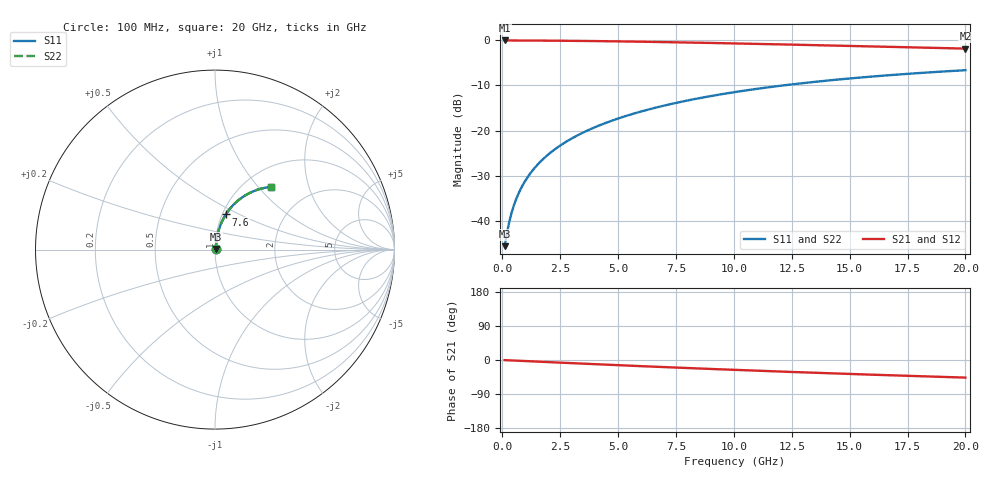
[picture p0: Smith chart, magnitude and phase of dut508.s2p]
! Touchstone file exported from HFSS 2024.1.0
!  File:  C:/UserFiles/LocalFiles/RDL_TSV_Batchsim/temp_RDL_bottom_508_1779687560.aedt
!  Generated:  01:41:57 PM May 25, 2026
!  Design:  RDL_bottom
!  Project:  temp_RDL_bottom_508_1779687560
!  Setup:  Setup1
!  Solution:  Sweep
! Variables:
!  dtsv = 10.80580581um
!  hbump = 3um
!  htsv = 55.67um
!  ldown = 641.17um
!  lrdl = 100um
!  p = 40
!  p1 = 47.9um
!  rhole = 1um
!  t = 450um
!  tdown = 3.39um
!  trdl = 3.915915916um
!  wdown = 15.71um
!  wrdl = 20um
# GHz S MA R 50.000000
! Terminal data exported
! Port[1] = RDL1_T1
! Port[2] = RDL1_T2
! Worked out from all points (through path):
!   200 points, 100 MHz to 20 GHz, reference 50 ohm
!   highest |S21| = -0.04 dB at 100 MHz (marker M1); lowest = -1.8 dB at 20 GHz (marker M2)
!   group delay of S21, straight-line fit = 6.43 ps
!   lowest |S11| = -45.6 dB at 100 MHz (marker M3), VSWR 1.01, Z = 50.4 + j0.291 ohm
!   |S11| at or under -10 dB: start of sweep to 12.13 GHz
!   |S22| runs from -45.6 to -6.6 dB; largest |S21 - S12| = 3.4e-15
!   S11 on the Smith chart (normalised r, x): 100 MHz: 1.01, +0.01; 7.6 GHz: 1.04, +0.43; 20 GHz: 1.31, +1.17
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0.1  0.005243 33.3  0.9956 -0.3  0.9956 -0.3  0.005243 33.3
! Gamma 0 0 0 0
! Port Impedance 50 0 50 0
0.2  0.007284 51.8  0.9955 -0.6  0.9955 -0.6  0.007284 51.8
0.3  0.009712 61.3  0.9953 -0.9  0.9953 -0.9  0.009712 61.3
0.4  0.01226 66.7  0.9951 -1.1  0.9951 -1.1  0.01226 66.7
0.5  0.01485 70.1  0.9949 -1.4  0.9949 -1.4  0.01485 70.1
0.6  0.01745 72.5  0.9947 -1.7  0.9947 -1.7  0.01745 72.5
0.8  0.0227 75.7  0.9943 -2.3  0.9943 -2.3  0.0227 75.7
1.1  0.03064 78.2  0.9937 -3.1  0.9937 -3.1  0.03064 78.2
1.3  0.03597 79.2  0.9932 -3.7  0.9932 -3.7  0.03597 79.2
1.6  0.044 80.1  0.9923 -4.5  0.9923 -4.5  0.044 80.1
2.1  0.05745 80.7  0.9905 -5.9  0.9905 -5.9  0.05745 80.7
2.7  0.07366 80.6  0.9879 -7.5  0.9879 -7.5  0.07366 80.6
3.5  0.09533 79.9  0.9834 -9.7  0.9834 -9.7  0.09533 79.9
4.2  0.1143 79.0  0.9788 -11.6  0.9788 -11.6  0.1143 79.0
5  0.1359 77.8  0.9728 -13.7  0.9728 -13.7  0.1359 77.8
5.9  0.1601 76.2  0.9652 -16.0  0.9652 -16.0  0.1601 76.2
6.8  0.1841 74.5  0.9569 -18.3  0.9569 -18.3  0.1841 74.5
7.6  0.2051 72.9  0.9491 -20.2  0.9491 -20.2  0.2051 72.9
10.1  0.2683 67.8  0.9225 -26.2  0.9225 -26.2  0.2683 67.8
13.4  0.3444 61.0  0.8847 -33.5  0.8847 -33.5  0.3444 61.0
16.7  0.4105 54.5  0.8463 -40.2  0.8463 -40.2  0.4105 54.5
20  0.4664 48.4  0.8088 -46.4  0.8088 -46.4  0.4664 48.4
